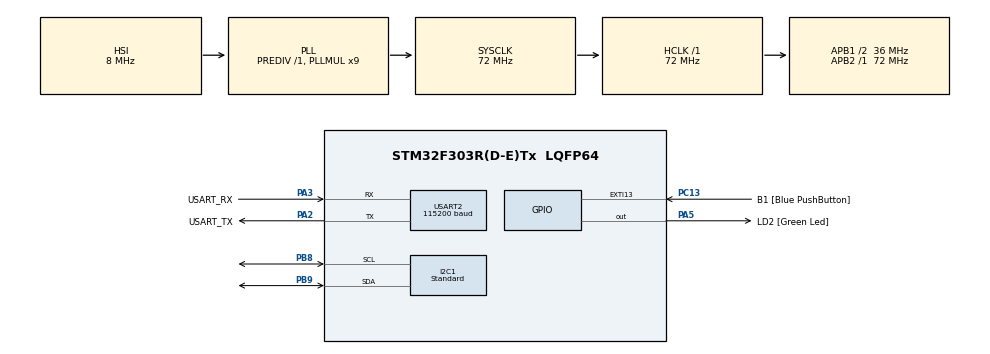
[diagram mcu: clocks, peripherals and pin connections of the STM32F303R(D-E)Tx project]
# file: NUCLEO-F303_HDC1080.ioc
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I2C1.I2C_Coeff_DF=5
I2C1.I2C_Fall_Time=100
I2C1.I2C_Rise_Time=100
I2C1.I2C_Speed_Mode=I2C_Standard
I2C1.Speed=100
I2C1.Timing=0x00201826
Mcu.Family=STM32F3
Mcu.Name=STM32F303R(D-E)Tx
Mcu.Package=LQFP64
NVIC.PriorityGroup=NVIC_PRIORITYGROUP_0
PA13.GPIO_Label=TMS
PA13.Mode=Serial_Wire
PA13.Signal=SYS_JTMS-SWDIO
PA14.GPIO_Label=TCK
PA14.Mode=Serial_Wire
PA14.Signal=SYS_JTCK-SWCLK
PA2.GPIO_Label=USART_TX
PA2.GPIO_Mode=GPIO_MODE_AF_PP
PA2.GPIO_PuPd=GPIO_NOPULL
PA2.GPIO_Speed=GPIO_SPEED_FREQ_LOW
PA2.Mode=Asynchronous
PA2.Signal=USART2_TX
PA3.GPIO_Label=USART_RX
PA3.GPIO_Mode=GPIO_MODE_AF_PP
PA3.GPIO_PuPd=GPIO_NOPULL
PA3.GPIO_Speed=GPIO_SPEED_FREQ_LOW
PA3.Mode=Asynchronous
PA3.Signal=USART2_RX
PA5.GPIO_Label=LD2 [Green Led]
PA5.GPIO_Mode=GPIO_MODE_OUTPUT_PP
PA5.GPIO_PuPd=GPIO_NOPULL
PA5.GPIO_Speed=GPIO_SPEED_FREQ_LOW
PA5.Signal=GPIO_Output
PB3.GPIO_Label=SWO
PB3.Signal=SYS_JTDO-TRACESWO
PB8.Mode=I2C
PB8.Signal=I2C1_SCL
PB9.Mode=I2C
PB9.Signal=I2C1_SDA
PC13.GPIO_Label=B1 [Blue PushButton]
PC13.GPIO_ModeDefaultEXTI=GPIO_MODE_IT_FALLING
PC13.Signal=GPXTI13
PC14-OSC32_IN.Mode=LSE-External-Oscillator
PC14-OSC32_IN.Signal=RCC_OSC32_IN
PC15-OSC32_OUT.Mode=LSE-External-Oscillator
PC15-OSC32_OUT.Signal=RCC_OSC32_OUT
PF0-OSC_IN.Mode=HSE-External-Clock-Source
PF0-OSC_IN.Signal=RCC_OSC_IN
PF1-OSC_OUT.Signal=RCC_OSC_OUT
ProjectManager.HeapSize=0x200
ProjectManager.StackSize=0x400
ProjectManager.TargetToolchain=CMake
RCC.AHBFreq_Value=72000000
RCC.APB1CLKDivider=RCC_HCLK_DIV2
RCC.APB1Freq_Value=36000000
RCC.APB1TimFreq_Value=72000000
RCC.APB2Freq_Value=72000000
RCC.APB2TimFreq_Value=72000000
RCC.CortexFreq_Value=72000000
RCC.HCLKFreq_Value=72000000
RCC.HSE_VALUE=8000000
RCC.HSI_VALUE=8000000
RCC.PLLM=8
RCC.PLLMUL=RCC_PLL_MUL9
RCC.PLLN=336
RCC.PLLP=RCC_PLLP_DIV4
RCC.PLLQ=7
RCC.RCC_PLLsource_Clock_Source_FROM_HSE=RCC_HSE_PREDIV_DIV2
RCC.SYSCLKFreq_VALUE=72000000
RCC.SYSCLKSourceVirtual=RCC_SYSCLKSOURCE_PLLCLK
RCC.USBFreq_Value=72000000
USART2.BaudRate=115200
USART2.VirtualMode-Asynchronous=VM_ASYNC
board=NUCLEO-F303RE

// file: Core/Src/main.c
/* USER CODE BEGIN Header */
/**
  ******************************************************************************
  * @file           : main.c
  * @brief          : Main program body
  ******************************************************************************
  * @attention
  *
  * Copyright (c) 2026 STMicroelectronics.
  * All rights reserved.
  *
  * This software is licensed under terms that can be found in the LICENSE file
  * in the root directory of this software component.
  * If no LICENSE file comes with this software, it is provided AS-IS.
  *
  ******************************************************************************
  */
/* USER CODE END Header */
#include "main.h"

/* USER CODE BEGIN Includes */
#include <HDC1080.h>
#include <stdio.h>
#include <string.h>
/* USER CODE END Includes */

/* USER CODE BEGIN PTD */
HDC1080_HandleTypeDef hdc1080;
/* USER CODE END PTD */

I2C_HandleTypeDef hi2c1;

UART_HandleTypeDef huart2;

/* USER CODE BEGIN PV */
char msg[64];
uint16_t deviceId = 0;
uint16_t manufacturerId = 0;

double temperature = 0.0;
double humidity = 0.0;
/* USER CODE END PV */

void SystemClock_Config(void);
static void MX_GPIO_Init(void);
static void MX_I2C1_Init(void);
static void MX_USART2_UART_Init(void);

int main(void)
{

  /* MCU Configuration--------------------------------------------------------*/

  /* Reset of all peripherals, Initializes the Flash interface and the Systick. */
  HAL_Init();

  /* Configure the system clock */
  SystemClock_Config();

  /* Initialize all configured peripherals */
  MX_GPIO_Init();
  MX_I2C1_Init();
  MX_USART2_UART_Init();
  /* USER CODE BEGIN 2 */
  HAL_Delay(20);
  HDC1080_Init(&hdc1080, &hi2c1, HDC1080_ADDRESS);
  HAL_Delay(20);
  /* USER CODE END 2 */

  /* Infinite loop */
  /* USER CODE BEGIN WHILE */
  while (1)
  {
    /*
    deviceId = HDC1080_GetDeviceID(&hdc1080);
    snprintf(msg, sizeof(msg), "DEVICE ID = 0x%04X\r\n", deviceId);
    HAL_UART_Transmit(&huart2, (uint8_t*)msg, strlen(msg), HAL_MAX_DELAY);

    manufacturerId = HDC1080_GetManufacturerID(&hdc1080);
    snprintf(msg, sizeof(msg), "MANUFACTURER ID = 0x%04X\r\n", manufacturerId);
    HAL_UART_Transmit(&huart2, (uint8_t*)msg, strlen(msg), HAL_MAX_DELAY);
    */

    HDC1080_GetTempAndHumidity(&hdc1080, &temperature, &humidity);

    snprintf(msg, sizeof(msg), "Temp = %.2f C | Hum = %.2f %%\r\n", temperature, humidity);
    HAL_UART_Transmit(&huart2, (uint8_t*)msg, strlen(msg), HAL_MAX_DELAY);

    HAL_Delay(1000);
    /* USER CODE END WHILE */

  }
}

void SystemClock_Config(void)
{
  RCC_OscInitTypeDef RCC_OscInitStruct = {0};
  RCC_ClkInitTypeDef RCC_ClkInitStruct = {0};
  RCC_PeriphCLKInitTypeDef PeriphClkInit = {0};

  /** Initializes the RCC Oscillators according to the specified parameters
  * in the RCC_OscInitTypeDef structure.
  */
  RCC_OscInitStruct.OscillatorType = RCC_OSCILLATORTYPE_HSI;
  RCC_OscInitStruct.HSIState = RCC_HSI_ON;
  RCC_OscInitStruct.HSICalibrationValue = RCC_HSICALIBRATION_DEFAULT;
  RCC_OscInitStruct.PLL.PLLState = RCC_PLL_ON;
  RCC_OscInitStruct.PLL.PLLSource = RCC_PLLSOURCE_HSI;
  RCC_OscInitStruct.PLL.PLLMUL = RCC_PLL_MUL9;
  RCC_OscInitStruct.PLL.PREDIV = RCC_PREDIV_DIV1;
  if (HAL_RCC_OscConfig(&RCC_OscInitStruct) != HAL_OK)
  {
    Error_Handler();
  }

  /** Initializes the CPU, AHB and APB buses clocks
  */
  RCC_ClkInitStruct.ClockType = RCC_CLOCKTYPE_HCLK|RCC_CLOCKTYPE_SYSCLK
                              |RCC_CLOCKTYPE_PCLK1|RCC_CLOCKTYPE_PCLK2;
  RCC_ClkInitStruct.SYSCLKSource = RCC_SYSCLKSOURCE_PLLCLK;
  RCC_ClkInitStruct.AHBCLKDivider = RCC_SYSCLK_DIV1;
  RCC_ClkInitStruct.APB1CLKDivider = RCC_HCLK_DIV2;
  RCC_ClkInitStruct.APB2CLKDivider = RCC_HCLK_DIV1;

  if (HAL_RCC_ClockConfig(&RCC_ClkInitStruct, FLASH_LATENCY_2) != HAL_OK)
  {
    Error_Handler();
  }
  PeriphClkInit.PeriphClockSelection = RCC_PERIPHCLK_USART2|RCC_PERIPHCLK_I2C1;
  PeriphClkInit.Usart2ClockSelection = RCC_USART2CLKSOURCE_PCLK1;
  PeriphClkInit.I2c1ClockSelection = RCC_I2C1CLKSOURCE_HSI;
  if (HAL_RCCEx_PeriphCLKConfig(&PeriphClkInit) != HAL_OK)
  {
    Error_Handler();
  }
}

static void MX_I2C1_Init(void)
{

  hi2c1.Instance = I2C1;
  hi2c1.Init.Timing = 0x00201826;
  hi2c1.Init.OwnAddress1 = 0;
  hi2c1.Init.AddressingMode = I2C_ADDRESSINGMODE_7BIT;
  hi2c1.Init.DualAddressMode = I2C_DUALADDRESS_DISABLE;
  hi2c1.Init.OwnAddress2 = 0;
  hi2c1.Init.OwnAddress2Masks = I2C_OA2_NOMASK;
  hi2c1.Init.GeneralCallMode = I2C_GENERALCALL_DISABLE;
  hi2c1.Init.NoStretchMode = I2C_NOSTRETCH_DISABLE;
  if (HAL_I2C_Init(&hi2c1) != HAL_OK)
  {
    Error_Handler();
  }

  /** Configure Analogue filter
  */
  if (HAL_I2CEx_ConfigAnalogFilter(&hi2c1, I2C_ANALOGFILTER_ENABLE) != HAL_OK)
  {
    Error_Handler();
  }

  /** Configure Digital filter
  */
  if (HAL_I2CEx_ConfigDigitalFilter(&hi2c1, 5) != HAL_OK)
  {
    Error_Handler();
  }

}

static void MX_USART2_UART_Init(void)
{

  huart2.Instance = USART2;
  huart2.Init.BaudRate = 115200;
  huart2.Init.WordLength = UART_WORDLENGTH_8B;
  huart2.Init.StopBits = UART_STOPBITS_1;
  huart2.Init.Parity = UART_PARITY_NONE;
  huart2.Init.Mode = UART_MODE_TX_RX;
  huart2.Init.HwFlowCtl = UART_HWCONTROL_NONE;
  huart2.Init.OverSampling = UART_OVERSAMPLING_16;
  huart2.Init.OneBitSampling = UART_ONE_BIT_SAMPLE_DISABLE;
  huart2.AdvancedInit.AdvFeatureInit = UART_ADVFEATURE_NO_INIT;
  if (HAL_UART_Init(&huart2) != HAL_OK)
  {
    Error_Handler();
  }

}

static void MX_GPIO_Init(void)
{
  GPIO_InitTypeDef GPIO_InitStruct = {0};

  /* GPIO Ports Clock Enable */
  __HAL_RCC_GPIOC_CLK_ENABLE();
  __HAL_RCC_GPIOF_CLK_ENABLE();
  __HAL_RCC_GPIOA_CLK_ENABLE();
  __HAL_RCC_GPIOB_CLK_ENABLE();

  /*Configure GPIO pin Output Level */
  HAL_GPIO_WritePin(LD2_GPIO_Port, LD2_Pin, GPIO_PIN_RESET);

  /*Configure GPIO pin : B1_Pin */
  GPIO_InitStruct.Pin = B1_Pin;
  GPIO_InitStruct.Mode = GPIO_MODE_IT_FALLING;
  GPIO_InitStruct.Pull = GPIO_NOPULL;
  HAL_GPIO_Init(B1_GPIO_Port, &GPIO_InitStruct);

  /*Configure GPIO pin : LD2_Pin */
  GPIO_InitStruct.Pin = LD2_Pin;
  GPIO_InitStruct.Mode = GPIO_MODE_OUTPUT_PP;
  GPIO_InitStruct.Pull = GPIO_NOPULL;
  GPIO_InitStruct.Speed = GPIO_SPEED_FREQ_LOW;
  HAL_GPIO_Init(LD2_GPIO_Port, &GPIO_InitStruct);

}

void Error_Handler(void)
{
  __disable_irq();
  while (1)
  {
  }
}
